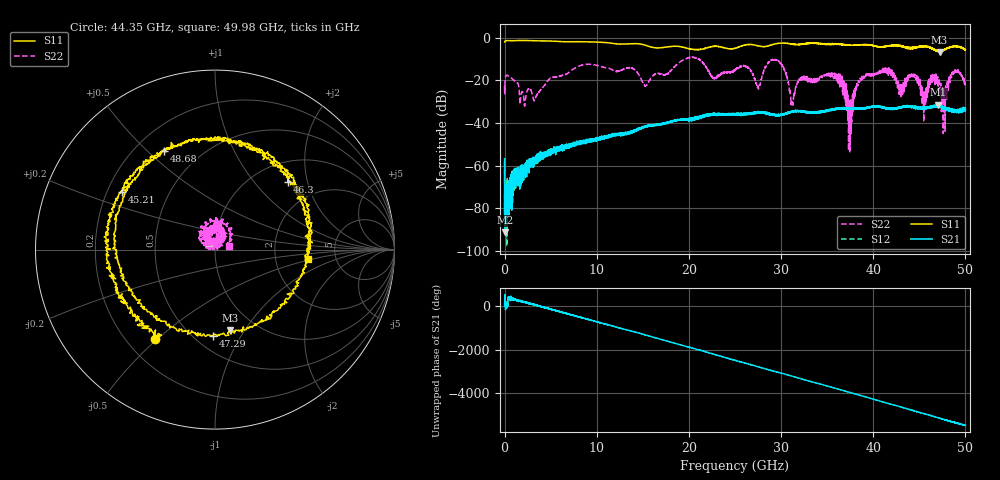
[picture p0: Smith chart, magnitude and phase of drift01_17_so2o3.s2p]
!Created with skrf (http://scikit-rf.org).
# Hz S RI R 50.0
!freq ReS11 ImS11 ReS21 ImS21 ReS12 ImS12 ReS22 ImS22
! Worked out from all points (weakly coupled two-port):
!   10001 points, 300 kHz to 50 GHz, reference 50 ohm
!   highest |S21| = -31.42 dB at 47.08 GHz (marker M1); lowest = -91.2 dB at 35.3 MHz (marker M2)
!   lowest |S11| = -6.8 dB at 47.2 GHz (marker M3), VSWR 2.69, Z = 38.1 - j43.3 ohm
!   |S11| at or under -10 dB: nowhere
!   |S22| runs from -54.0 to -9.2 dB; largest |S21 - S12| = 0.0036
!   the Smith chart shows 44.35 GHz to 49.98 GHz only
!   S11 on the Smith chart (normalised r, x): 44.35 GHz: 0.32, -0.49; 45.21 GHz: 0.26, +0.27; 46.3 GHz: 1.40, +1.52; 47.29 GHz: 0.61, -0.76; 48.68 GHz: 0.32, +0.56; 49.98 GHz: 3.12, -0.45
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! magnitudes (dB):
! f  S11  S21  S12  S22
! 300 kHz  -2.1  -56.8  -58.2  -22.5
! 35.3 MHz  -1.7  -91.2  -73.9  -21.7
! 3.29 GHz  -1.5  -56.8  -57.3  -28.9
! 8.335 GHz  -1.9  -49.5  -48.7  -12.9
! 16.67 GHz  -4.8  -40.5  -40.6  -16.7
! 25 GHz  -5.0  -36.4  -35.8  -15.4
! 29.59 GHz  -2.8  -36.2  -36.5  -10.6
! 31.23 GHz  -3.1  -34.8  -34.6  -30.6
! 33.34 GHz  -2.6  -35.4  -35.2  -19.9
! 36.08 GHz  -3.0  -33.4  -33.4  -18.3
! 37.48 GHz  -3.6  -33.3  -32.8  -35.1
! 38.63 GHz  -3.4  -33.3  -33.2  -19.7
! 41.67 GHz  -3.9  -33.3  -33.2  -15.6
! 44.35 GHz  -4.5  -32.8  -32.8  -17.1
! 45.21 GHz  -4.3  -32.9  -33.0  -24.5
! 46.3 GHz  -5.1  -32.6  -32.4  -17.9
! 47.08 GHz  -6.5  -31.4  -32.2  -22.3
! 47.2 GHz  -6.8  -32.2  -32.1  -23.0
! 47.29 GHz  -6.4  -32.4  -32.3  -22.3
! 48.68 GHz  -4.2  -34.3  -34.4  -16.5
! 49.98 GHz  -5.6  -33.5  -33.3  -21.8
! 50 GHz  -5.7  -33.9  -33.5  -21.7
